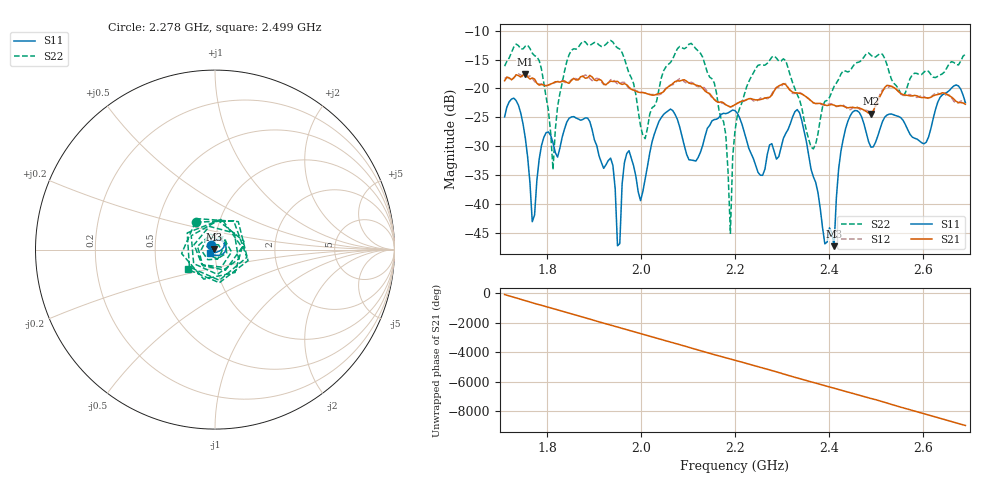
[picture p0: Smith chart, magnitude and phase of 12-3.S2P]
!Agilent Technologies,E5061B,MY49305579,A.02.22
!Date: Thu Aug 24 16:22:38 2017
!Data & Calibration Information:
!Freq	S11:SOLT2(ON)	S21:SOLT2(ON)	S12:SOLT2(ON)	S22:SOLT2(ON)
# Hz S dB R 50
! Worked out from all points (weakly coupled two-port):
!   201 points, 1.71 GHz to 2.69 GHz, reference 50 ohm
!   highest |S21| = -17.49 dB at 1.754 GHz (marker M1); lowest = -24.4 dB at 2.489 GHz (marker M2)
!   lowest |S11| = -47.3 dB at 2.411 GHz (marker M3), VSWR 1.01, Z = 49.7 + j0.313 ohm
!   |S11| at or under -10 dB: start of sweep to end of sweep
!   |S22| runs from -45.1 to -11.7 dB; largest |S21 - S12| = 0.011
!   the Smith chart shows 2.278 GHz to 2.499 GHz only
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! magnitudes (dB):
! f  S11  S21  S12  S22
! 1.71 GHz  -24.9  -18.7  -18.3  -16.1
! 1.754 GHz  -28.7  -17.5  -18.1  -12.7
! 1.769 GHz  -43.1  -18.2  -18.2  -13.9
! 1.813 GHz  -29.4  -19.1  -19.2  -34.1
! 1.877 GHz  -25.4  -17.9  -17.9  -11.8
! 1.94 GHz  -33.3  -18.8  -18.4  -12.0
! 1.95 GHz  -47.3  -18.8  -19.2  -13.0
! 1.97 GHz  -31.3  -19.4  -19.5  -16.1
! 1.999 GHz  -39.4  -20.7  -20.6  -26.5
! 2.038 GHz  -25.7  -20.9  -21.1  -20.1
! 2.131 GHz  -29.8  -20.0  -19.7  -14.6
! 2.18 GHz  -24.4  -22.8  -22.9  -28.0
! 2.19 GHz  -24.0  -23.2  -23.2  -45.1
! 2.2 GHz  -23.9  -22.8  -22.8  -27.3
! 2.283 GHz  -30.9  -20.4  -20.2  -14.4
! 2.332 GHz  -23.7  -20.8  -20.7  -21.0
! 2.367 GHz  -35.3  -22.5  -22.5  -30.5
! 2.411 GHz  -47.3  -22.9  -23.0  -19.7
! 2.44 GHz  -25.7  -23.4  -23.6  -17.2
! 2.489 GHz  -30.2  -24.4  -24.2  -14.2
! 2.528 GHz  -24.5  -19.5  -19.7  -17.3
! 2.69 GHz  -22.5  -22.7  -22.5  -14.1
